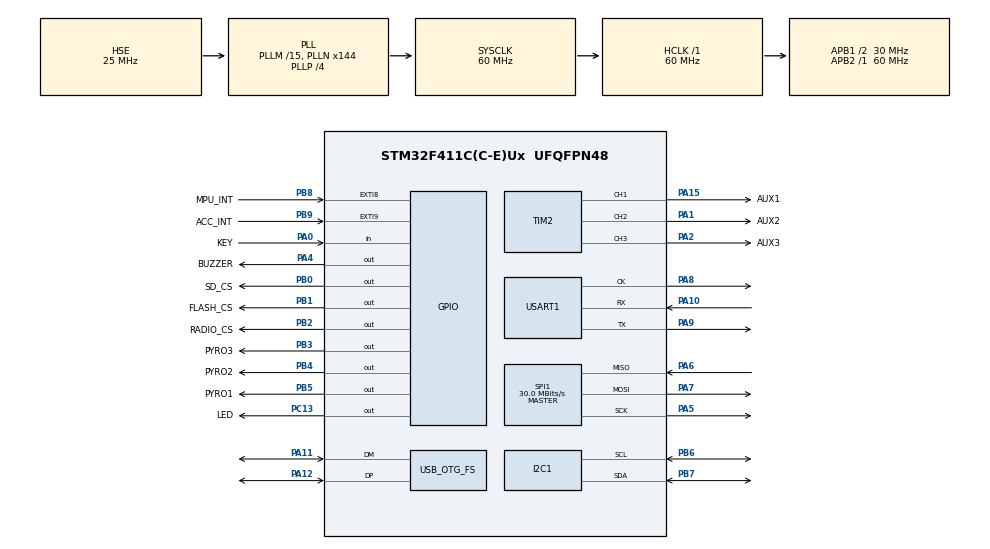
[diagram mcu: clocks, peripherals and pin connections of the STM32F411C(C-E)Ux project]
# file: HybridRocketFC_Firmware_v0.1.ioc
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I2C1.I2C_Mode=I2C_Standard
Mcu.Family=STM32F4
Mcu.Name=STM32F411C(C-E)Ux
Mcu.Package=UFQFPN48
NVIC.EXTI9_5_IRQn=true\:2\:0\:true\:false\:true\:true\:true
NVIC.OTG_FS_IRQn=true\:0\:0\:false\:false\:true\:false\:true
NVIC.PriorityGroup=NVIC_PRIORITYGROUP_4
PA0-WKUP.GPIO_Label=KEY
PA0-WKUP.GPIO_PuPd=GPIO_PULLUP
PA0-WKUP.Signal=GPIO_Input
PA1.GPIO_Label=AUX2
PA1.Signal=S_TIM2_CH2
PA10.Mode=Synchronous
PA10.Signal=USART1_RX
PA11.Mode=Device_Only
PA11.Signal=USB_OTG_FS_DM
PA12.Mode=Device_Only
PA12.Signal=USB_OTG_FS_DP
PA13.Mode=Serial_Wire
PA13.Signal=SYS_JTMS-SWDIO
PA14.Mode=Serial_Wire
PA14.Signal=SYS_JTCK-SWCLK
PA15.GPIO_Label=AUX1
PA15.Signal=S_TIM2_CH1_ETR
PA2.GPIO_Label=AUX3
PA2.Signal=S_TIM2_CH3
PA4.GPIO_Label=BUZZER
PA4.Signal=GPIO_Output
PA5.Mode=Full_Duplex_Master
PA5.Signal=SPI1_SCK
PA6.Mode=Full_Duplex_Master
PA6.Signal=SPI1_MISO
PA7.Mode=Full_Duplex_Master
PA7.Signal=SPI1_MOSI
PA8.Mode=Synchronous
PA8.Signal=USART1_CK
PA9.Mode=Synchronous
PA9.Signal=USART1_TX
PB0.GPIO_Label=SD_CS
PB0.Signal=GPIO_Output
PB1.GPIO_Label=FLASH_CS
PB1.Signal=GPIO_Output
PB2.GPIO_Label=RADIO_CS
PB2.Signal=GPIO_Output
PB3.GPIO_Label=PYRO3
PB3.Signal=GPIO_Output
PB4.GPIO_Label=PYRO2
PB4.Signal=GPIO_Output
PB5.GPIO_Label=PYRO1
PB5.Signal=GPIO_Output
PB6.Mode=I2C
PB6.Signal=I2C1_SCL
PB7.Mode=I2C
PB7.Signal=I2C1_SDA
PB8.GPIO_Label=MPU_INT
PB8.Signal=GPXTI8
PB9.GPIO_Label=ACC_INT
PB9.Signal=GPXTI9
PC13-ANTI_TAMP.GPIO_Label=LED
PC13-ANTI_TAMP.Signal=GPIO_Output
PH0\ -\ OSC_IN.Mode=HSE-External-Oscillator
PH0\ -\ OSC_IN.Signal=RCC_OSC_IN
PH1\ -\ OSC_OUT.Mode=HSE-External-Oscillator
PH1\ -\ OSC_OUT.Signal=RCC_OSC_OUT
ProjectManager.HeapSize=0x200
ProjectManager.StackSize=0x400
ProjectManager.TargetToolchain=STM32CubeIDE
RCC.48MHZClocksFreq_Value=48000000
RCC.AHBFreq_Value=60000000
RCC.APB1CLKDivider=RCC_HCLK_DIV2
RCC.APB1Freq_Value=30000000
RCC.APB1TimFreq_Value=60000000
RCC.APB2Freq_Value=60000000
RCC.APB2TimFreq_Value=60000000
RCC.CortexFreq_Value=60000000
RCC.HCLKFreq_Value=60000000
RCC.HSE_VALUE=25000000
RCC.HSI_VALUE=16000000
RCC.PLLM=15
RCC.PLLN=144
RCC.PLLP=RCC_PLLP_DIV4
RCC.PLLQ=5
RCC.SYSCLKFreq_VALUE=60000000
RCC.SYSCLKSource=RCC_SYSCLKSOURCE_PLLCLK
RCC.VCOOutputFreq_Value=240000000
SH.S_TIM2_CH1_ETR.0=TIM2_CH1,PWM Generation1 CH1
SH.S_TIM2_CH2.0=TIM2_CH2,PWM Generation2 CH2
SH.S_TIM2_CH3.0=TIM2_CH3,PWM Generation3 CH3
SPI1.CalculateBaudRate=30.0 MBits/s
SPI1.Direction=SPI_DIRECTION_2LINES
SPI1.Mode=SPI_MODE_MASTER
SPI1.VirtualType=VM_MASTER
TIM2.Channel-PWM\ Generation1\ CH1=TIM_CHANNEL_1
TIM2.Channel-PWM\ Generation2\ CH2=TIM_CHANNEL_2
TIM2.Channel-PWM\ Generation3\ CH3=TIM_CHANNEL_3
USART1.VirtualMode=VM_SYNC
USB_DEVICE.CLASS_NAME_FS=CDC
USB_DEVICE.VirtualMode=Cdc
USB_DEVICE.VirtualModeFS=Cdc_FS
USB_OTG_FS.VirtualMode=Device_Only
VP_TIM2_VS_ClockSourceINT.Mode=Internal
VP_TIM2_VS_ClockSourceITR.Mode=TriggerSource_ITR0
VP_TIM2_VS_ControllerModeReset.Mode=Reset Mode
VP_USB_DEVICE_VS_USB_DEVICE_CDC_FS.Mode=CDC_FS
board=custom

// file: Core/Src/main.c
/* USER CODE BEGIN Header */
/**
  ******************************************************************************
  * @file           : main.c
  * @brief          : Main program body
  ******************************************************************************
  * @attention
  *
  * <h2><center>&copy; Copyright (c) 2021 STMicroelectronics.
  * All rights reserved.</center></h2>
  *
  * This software component is licensed by ST under BSD 3-Clause license,
  * the "License"; You may not use this file except in compliance with the
  * License. You may obtain a copy of the License at:
  *                        opensource.org/licenses/BSD-3-Clause
  *
  ******************************************************************************
  ******************************************************************************
  ******************************************************************************
  ******************************************************************************
  * ToDo:
  * Barmoeter
  * High-G Accel.
  * Altitude Calculation / estimation
  * Apogee detection
  * RTOS/DMA Investigation
  * Data Logging
  * Telemetry
  */

/* USER CODE END Header */
#include "main.h"
#include "usb_device.h"

/* USER CODE BEGIN Includes */
#include "MPU9250.h"
#include "usbd_cdc_if.h"
#include "stdio.h"
/* USER CODE END Includes */

/* USER CODE BEGIN PD */
#define LOG_DELAY 300
/* USER CODE END PD */

I2C_HandleTypeDef hi2c1;

SPI_HandleTypeDef hspi1;

TIM_HandleTypeDef htim2;

USART_HandleTypeDef husart1;

/* USER CODE BEGIN PV */
MPU9250 mpu;
uint8_t mpuDataReady;
/* USER CODE END PV */

void SystemClock_Config(void);
static void MX_GPIO_Init(void);
static void MX_I2C1_Init(void);
static void MX_SPI1_Init(void);
static void MX_TIM2_Init(void);
static void MX_USART1_Init(void);

/* USER CODE BEGIN 0 */
void HAL_GPIO_EXTI_Callback ( uint16_t GPIO_Pin ) {
	if ( GPIO_Pin == MPU_INT_Pin ) {
		mpuDataReady = 1;
	}
}
/* USER CODE END 0 */

int main(void)
{

  /* MCU Configuration--------------------------------------------------------*/

  /* Reset of all peripherals, Initializes the Flash interface and the Systick. */
  HAL_Init();

  /* Configure the system clock */
  SystemClock_Config();

  /* Initialize all configured peripherals */
  MX_GPIO_Init();
  MX_I2C1_Init();
  MX_USB_DEVICE_Init();
  MX_SPI1_Init();
  MX_TIM2_Init();
  MX_USART1_Init();
  /* USER CODE BEGIN 2 */
  HAL_Delay(100); //Allow MPU to power on
  MPU9250_Init(&mpu, &hi2c1);
  char usbBuf[256];
  uint32_t timerLog = 0;
  /* USER CODE END 2 */

  /* Infinite loop */
  /* USER CODE BEGIN WHILE */
  mpuDataReady = 0;
  while (1)
  {
    /* USER CODE END WHILE */

    /* USER CODE BEGIN 3 */
    if ( mpuDataReady || !HAL_GPIO_ReadPin(GPIOA, KEY_Pin) ) {
		//Check INT_STATUS reg. for DMP or Raw data (0x02 = DMP)
		uint8_t regData;
		MPU9250_ReadRegister (&mpu, MPU9250_INT_STATUS, &regData);
		if ( regData == 0x02 ) {
			//Data from DMP, read from FIFO into quaternion
			MPU9250_ReadFIFO( &mpu );
		} else {
			MPU9250_ReadTemp( &mpu );
			MPU9250_ReadAccel( &mpu );
			MPU9250_ReadGyro( &mpu );
			MPU9250_ReadMag( &mpu );
		}
		HAL_Delay(10);
		GPIOC -> ODR ^= LED_Pin;
		mpuDataReady = 0;
	}
    if ( (HAL_GetTick() - timerLog) >= LOG_DELAY ) {
      uint8_t usbBufLen;
	  //usbBufLen = snprintf( usbBuf, 256, "Temp: %.2f, Accel: %.2f, %.2f, %.2f, Gyro: %.2f, %.2f, %.2f, Mag: %.2f, %.2f, %.2f\r\n",
			  //mpu.temp_C, mpu.acc_mps2[0], mpu.acc_mps2[1], mpu.acc_mps2[2], mpu.gyro_dps[0], mpu.gyro_dps[1], mpu.gyro_dps[2], mpu.mag_mt[0], mpu.mag_mt[1], mpu.mag_mt[2] );
	  usbBufLen = snprintf( usbBuf, 256, "%d, %d, %d, %d\r\n",
	  			  mpu.quat[0], mpu.quat[1], mpu.quat[2], mpu.quat[3]);
	  CDC_Transmit_FS( (uint8_t*) usbBuf, usbBufLen );
	  timerLog += LOG_DELAY;
	}
  }
  /* USER CODE END 3 */
}

void SystemClock_Config(void)
{
  RCC_OscInitTypeDef RCC_OscInitStruct = {0};
  RCC_ClkInitTypeDef RCC_ClkInitStruct = {0};

  /** Configure the main internal regulator output voltage
  */
  __HAL_RCC_PWR_CLK_ENABLE();
  __HAL_PWR_VOLTAGESCALING_CONFIG(PWR_REGULATOR_VOLTAGE_SCALE1);
  /** Initializes the RCC Oscillators according to the specified parameters
  * in the RCC_OscInitTypeDef structure.
  */
  RCC_OscInitStruct.OscillatorType = RCC_OSCILLATORTYPE_HSE;
  RCC_OscInitStruct.HSEState = RCC_HSE_ON;
  RCC_OscInitStruct.PLL.PLLState = RCC_PLL_ON;
  RCC_OscInitStruct.PLL.PLLSource = RCC_PLLSOURCE_HSE;
  RCC_OscInitStruct.PLL.PLLM = 15;
  RCC_OscInitStruct.PLL.PLLN = 144;
  RCC_OscInitStruct.PLL.PLLP = RCC_PLLP_DIV4;
  RCC_OscInitStruct.PLL.PLLQ = 5;
  if (HAL_RCC_OscConfig(&RCC_OscInitStruct) != HAL_OK)
  {
    Error_Handler();
  }
  /** Initializes the CPU, AHB and APB buses clocks
  */
  RCC_ClkInitStruct.ClockType = RCC_CLOCKTYPE_HCLK|RCC_CLOCKTYPE_SYSCLK
                              |RCC_CLOCKTYPE_PCLK1|RCC_CLOCKTYPE_PCLK2;
  RCC_ClkInitStruct.SYSCLKSource = RCC_SYSCLKSOURCE_PLLCLK;
  RCC_ClkInitStruct.AHBCLKDivider = RCC_SYSCLK_DIV1;
  RCC_ClkInitStruct.APB1CLKDivider = RCC_HCLK_DIV2;
  RCC_ClkInitStruct.APB2CLKDivider = RCC_HCLK_DIV1;

  if (HAL_RCC_ClockConfig(&RCC_ClkInitStruct, FLASH_LATENCY_1) != HAL_OK)
  {
    Error_Handler();
  }
}

static void MX_I2C1_Init(void)
{

  hi2c1.Instance = I2C1;
  hi2c1.Init.ClockSpeed = 100000;
  hi2c1.Init.DutyCycle = I2C_DUTYCYCLE_2;
  hi2c1.Init.OwnAddress1 = 0;
  hi2c1.Init.AddressingMode = I2C_ADDRESSINGMODE_7BIT;
  hi2c1.Init.DualAddressMode = I2C_DUALADDRESS_DISABLE;
  hi2c1.Init.OwnAddress2 = 0;
  hi2c1.Init.GeneralCallMode = I2C_GENERALCALL_DISABLE;
  hi2c1.Init.NoStretchMode = I2C_NOSTRETCH_DISABLE;
  if (HAL_I2C_Init(&hi2c1) != HAL_OK)
  {
    Error_Handler();
  }

}

static void MX_SPI1_Init(void)
{

  /* SPI1 parameter configuration*/
  hspi1.Instance = SPI1;
  hspi1.Init.Mode = SPI_MODE_MASTER;
  hspi1.Init.Direction = SPI_DIRECTION_2LINES;
  hspi1.Init.DataSize = SPI_DATASIZE_8BIT;
  hspi1.Init.CLKPolarity = SPI_POLARITY_LOW;
  hspi1.Init.CLKPhase = SPI_PHASE_1EDGE;
  hspi1.Init.NSS = SPI_NSS_SOFT;
  hspi1.Init.BaudRatePrescaler = SPI_BAUDRATEPRESCALER_2;
  hspi1.Init.FirstBit = SPI_FIRSTBIT_MSB;
  hspi1.Init.TIMode = SPI_TIMODE_DISABLE;
  hspi1.Init.CRCCalculation = SPI_CRCCALCULATION_DISABLE;
  hspi1.Init.CRCPolynomial = 10;
  if (HAL_SPI_Init(&hspi1) != HAL_OK)
  {
    Error_Handler();
  }

}

static void MX_TIM2_Init(void)
{

  TIM_ClockConfigTypeDef sClockSourceConfig = {0};
  TIM_SlaveConfigTypeDef sSlaveConfig = {0};
  TIM_MasterConfigTypeDef sMasterConfig = {0};
  TIM_OC_InitTypeDef sConfigOC = {0};

  htim2.Instance = TIM2;
  htim2.Init.Prescaler = 0;
  htim2.Init.CounterMode = TIM_COUNTERMODE_UP;
  htim2.Init.Period = 4294967295;
  htim2.Init.ClockDivision = TIM_CLOCKDIVISION_DIV1;
  htim2.Init.AutoReloadPreload = TIM_AUTORELOAD_PRELOAD_DISABLE;
  if (HAL_TIM_Base_Init(&htim2) != HAL_OK)
  {
    Error_Handler();
  }
  sClockSourceConfig.ClockSource = TIM_CLOCKSOURCE_INTERNAL;
  if (HAL_TIM_ConfigClockSource(&htim2, &sClockSourceConfig) != HAL_OK)
  {
    Error_Handler();
  }
  if (HAL_TIM_PWM_Init(&htim2) != HAL_OK)
  {
    Error_Handler();
  }
  sSlaveConfig.SlaveMode = TIM_SLAVEMODE_RESET;
  sSlaveConfig.InputTrigger = TIM_TS_ITR0;
  if (HAL_TIM_SlaveConfigSynchro(&htim2, &sSlaveConfig) != HAL_OK)
  {
    Error_Handler();
  }
  sMasterConfig.MasterOutputTrigger = TIM_TRGO_RESET;
  sMasterConfig.MasterSlaveMode = TIM_MASTERSLAVEMODE_DISABLE;
  if (HAL_TIMEx_MasterConfigSynchronization(&htim2, &sMasterConfig) != HAL_OK)
  {
    Error_Handler();
  }
  sConfigOC.OCMode = TIM_OCMODE_PWM1;
  sConfigOC.Pulse = 0;
  sConfigOC.OCPolarity = TIM_OCPOLARITY_HIGH;
  sConfigOC.OCFastMode = TIM_OCFAST_DISABLE;
  if (HAL_TIM_PWM_ConfigChannel(&htim2, &sConfigOC, TIM_CHANNEL_1) != HAL_OK)
  {
    Error_Handler();
  }
  if (HAL_TIM_PWM_ConfigChannel(&htim2, &sConfigOC, TIM_CHANNEL_2) != HAL_OK)
  {
    Error_Handler();
  }
  if (HAL_TIM_PWM_ConfigChannel(&htim2, &sConfigOC, TIM_CHANNEL_3) != HAL_OK)
  {
    Error_Handler();
  }
  HAL_TIM_MspPostInit(&htim2);

}

static void MX_USART1_Init(void)
{

  husart1.Instance = USART1;
  husart1.Init.BaudRate = 115200;
  husart1.Init.WordLength = USART_WORDLENGTH_8B;
  husart1.Init.StopBits = USART_STOPBITS_1;
  husart1.Init.Parity = USART_PARITY_NONE;
  husart1.Init.Mode = USART_MODE_TX_RX;
  husart1.Init.CLKPolarity = USART_POLARITY_LOW;
  husart1.Init.CLKPhase = USART_PHASE_1EDGE;
  husart1.Init.CLKLastBit = USART_LASTBIT_DISABLE;
  if (HAL_USART_Init(&husart1) != HAL_OK)
  {
    Error_Handler();
  }

}

static void MX_GPIO_Init(void)
{
  GPIO_InitTypeDef GPIO_InitStruct = {0};

  /* GPIO Ports Clock Enable */
  __HAL_RCC_GPIOC_CLK_ENABLE();
  __HAL_RCC_GPIOH_CLK_ENABLE();
  __HAL_RCC_GPIOA_CLK_ENABLE();
  __HAL_RCC_GPIOB_CLK_ENABLE();

  /*Configure GPIO pin Output Level */
  HAL_GPIO_WritePin(LED_GPIO_Port, LED_Pin, GPIO_PIN_RESET);

  /*Configure GPIO pin Output Level */
  HAL_GPIO_WritePin(BUZZER_GPIO_Port, BUZZER_Pin, GPIO_PIN_RESET);

  /*Configure GPIO pin Output Level */
  HAL_GPIO_WritePin(GPIOB, SD_CS_Pin|FLASH_CS_Pin|RADIO_CS_Pin|PYRO3_Pin
                          |PYRO2_Pin|PYRO1_Pin, GPIO_PIN_RESET);

  /*Configure GPIO pin : LED_Pin */
  GPIO_InitStruct.Pin = LED_Pin;
  GPIO_InitStruct.Mode = GPIO_MODE_OUTPUT_PP;
  GPIO_InitStruct.Pull = GPIO_NOPULL;
  GPIO_InitStruct.Speed = GPIO_SPEED_FREQ_LOW;
  HAL_GPIO_Init(LED_GPIO_Port, &GPIO_InitStruct);

  /*Configure GPIO pin : KEY_Pin */
  GPIO_InitStruct.Pin = KEY_Pin;
  GPIO_InitStruct.Mode = GPIO_MODE_INPUT;
  GPIO_InitStruct.Pull = GPIO_PULLUP;
  HAL_GPIO_Init(KEY_GPIO_Port, &GPIO_InitStruct);

  /*Configure GPIO pin : BUZZER_Pin */
  GPIO_InitStruct.Pin = BUZZER_Pin;
  GPIO_InitStruct.Mode = GPIO_MODE_OUTPUT_PP;
  GPIO_InitStruct.Pull = GPIO_NOPULL;
  GPIO_InitStruct.Speed = GPIO_SPEED_FREQ_LOW;
  HAL_GPIO_Init(BUZZER_GPIO_Port, &GPIO_InitStruct);

  /*Configure GPIO pins : SD_CS_Pin FLASH_CS_Pin RADIO_CS_Pin PYRO3_Pin
                           PYRO2_Pin PYRO1_Pin */
  GPIO_InitStruct.Pin = SD_CS_Pin|FLASH_CS_Pin|RADIO_CS_Pin|PYRO3_Pin
                          |PYRO2_Pin|PYRO1_Pin;
  GPIO_InitStruct.Mode = GPIO_MODE_OUTPUT_PP;
  GPIO_InitStruct.Pull = GPIO_NOPULL;
  GPIO_InitStruct.Speed = GPIO_SPEED_FREQ_LOW;
  HAL_GPIO_Init(GPIOB, &GPIO_InitStruct);

  /*Configure GPIO pins : MPU_INT_Pin ACC_INT_Pin */
  GPIO_InitStruct.Pin = MPU_INT_Pin|ACC_INT_Pin;
  GPIO_InitStruct.Mode = GPIO_MODE_IT_RISING;
  GPIO_InitStruct.Pull = GPIO_NOPULL;
  HAL_GPIO_Init(GPIOB, &GPIO_InitStruct);

  /* EXTI interrupt init*/
  HAL_NVIC_SetPriority(EXTI9_5_IRQn, 2, 0);
  HAL_NVIC_EnableIRQ(EXTI9_5_IRQn);

}

void Error_Handler(void)
{
  __disable_irq();
  while (1)
  {
  }
}

/************************ (C) COPYRIGHT STMicroelectronics *****END OF FILE****/
